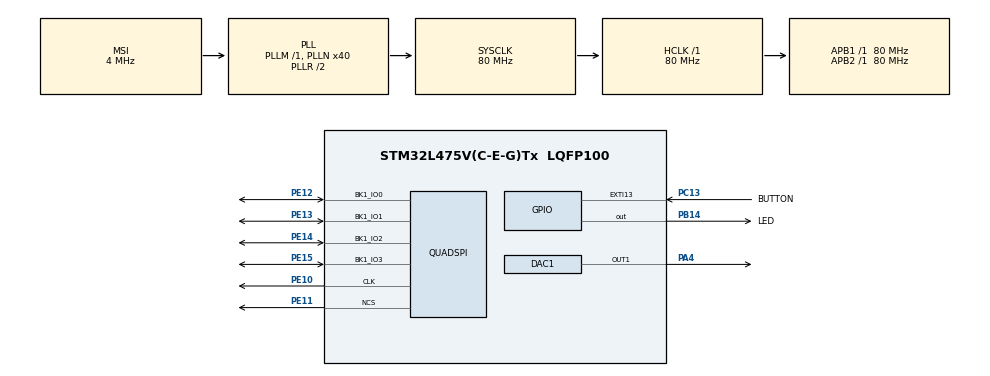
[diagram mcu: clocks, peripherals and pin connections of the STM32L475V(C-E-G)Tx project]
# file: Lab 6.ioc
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Mcu.Family=STM32L4
RCC.MSI_VALUE=4000000
Dma.DAC_CH1.0.Mode=DMA_CIRCULAR
Dma.DAC_CH1.0.MemDataAlignment=DMA_MDATAALIGN_WORD
RCC.CortexFreq_Value=80000000
PC13.Signal=GPXTI13
PB14.GPIO_Label=LED
PE10.Mode=Single Bank
PC13.GPIO_Label=BUTTON
RCC.SYSCLKSource=RCC_SYSCLKSOURCE_PLLCLK
ProjectManager.StackSize=0x400
PB3\ (JTDO-TRACESWO).Signal=SYS_JTDO-SWO
NVIC.DMA1_Channel3_IRQn=true\:0\:0\:false\:false\:true\:false\:true
Dma.DAC_CH1.0.Direction=DMA_MEMORY_TO_PERIPH
PE11.Mode=Single Bank
Dma.DAC_CH1.0.Instance=DMA1_Channel3
ProjectManager.TargetToolchain=STM32CubeIDE
SH.COMP_DAC11_group.0=DAC1_OUT1,DAC_OUT1
RCC.HCLKFreq_Value=80000000
RCC.APB2TimFreq_Value=80000000
Dma.DAC_CH1.0.MemInc=DMA_MINC_ENABLE
RCC.USBFreq_Value=48000000
PE11.Signal=QUADSPI_NCS
RCC.LSE_VALUE=32768
RCC.AHBFreq_Value=80000000
PB14.Signal=GPIO_Output
RCC.HSE_VALUE=8000000
board=B-L475E-IOT01A1
RCC.VCOOutputFreq_Value=160000000
RCC.APB2Freq_Value=80000000
PE14.Signal=QUADSPI_BK1_IO2
PE13.Signal=QUADSPI_BK1_IO1
PE15.Signal=QUADSPI_BK1_IO3
VP_TIM2_VS_ClockSourceINT.Mode=Internal
PE14.Mode=Single Bank
NVIC.TIM2_IRQn=true\:0\:0\:false\:false\:true\:true\:true
RCC.ADCFreq_Value=48000000
Dma.DAC_CH1.0.PeriphDataAlignment=DMA_PDATAALIGN_WORD
PE13.Mode=Single Bank
DAC1.DAC_Trigger-DAC_OUT1=DAC_TRIGGER_T2_TRGO
TIM2.Period=1815
PE10.Signal=QUADSPI_CLK
Mcu.Name=STM32L475V(C-E-G)Tx
PE12.Signal=QUADSPI_BK1_IO0
Dma.DAC_CH1.0.PeriphInc=DMA_PINC_DISABLE
PA4.Signal=COMP_DAC11_group
RCC.SYSCLKFreq_VALUE=80000000
Mcu.Package=LQFP100
ProjectManager.HeapSize=0x200
Dma.DAC_CH1.0.Priority=DMA_PRIORITY_LOW
RCC.HSI_VALUE=16000000
NVIC.PriorityGroup=NVIC_PRIORITYGROUP_4
TIM2.TIM_MasterOutputTrigger=TIM_TRGO_UPDATE
RCC.PLLN=40
RCC.APB1TimFreq_Value=80000000
PA13\ (JTMS-SWDIO).Signal=SYS_JTMS-SWDIO
Dma.Request0=DAC_CH1
RCC.APB1Freq_Value=80000000
PE15.Mode=Single Bank
RCC.PLLSAI1N=24
PE12.Mode=Single Bank

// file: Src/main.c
/* USER CODE BEGIN Header */
/**
  ******************************************************************************
  * @file           : main.c
  * @brief          : Main program body
  ******************************************************************************
  * @attention
  *
  * <h2><center>&copy; Copyright (c) 2020 STMicroelectronics.
  * All rights reserved.</center></h2>
  *
  * This software component is licensed by ST under BSD 3-Clause license,
  * the "License"; You may not use this file except in compliance with the
  * License. You may obtain a copy of the License at:
  *                        opensource.org/licenses/BSD-3-Clause
  *
  ******************************************************************************
  */
/* USER CODE END Header */
#include "main.h"

/* USER CODE BEGIN Includes */
#include "stm32l475e_iot01_qspi.h"

#define ARM_MATH_CM4
#include "arm_math.h"
/* USER CODE END Includes */

DAC_HandleTypeDef hdac1;
DMA_HandleTypeDef hdma_dac_ch1;

QSPI_HandleTypeDef hqspi;

TIM_HandleTypeDef htim2;

/* USER CODE BEGIN PV */
uint8_t original[10] = { 0, 1, 2, 3, 4, 5, 6, 7, 8, 9 };
uint8_t copy[10];
/* USER CODE END PV */

void SystemClock_Config(void);
static void MX_GPIO_Init(void);
static void MX_DMA_Init(void);
static void MX_DAC1_Init(void);
static void MX_TIM2_Init(void);
static void MX_QUADSPI_Init(void);

int main(void)
{

  /* MCU Configuration--------------------------------------------------------*/

  /* Reset of all peripherals, Initializes the Flash interface and the Systick. */
  HAL_Init();

  /* Configure the system clock */
  SystemClock_Config();

  /* Initialize all configured peripherals */
  MX_GPIO_Init();
  MX_DMA_Init();
  MX_DAC1_Init();
  MX_TIM2_Init();
  MX_QUADSPI_Init();
  /* USER CODE BEGIN 2 */
  BSP_QSPI_Init();

  HAL_GPIO_WritePin(LED_GPIO_Port, LED_Pin, GPIO_PIN_SET);

  // test
  if (BSP_QSPI_Erase_Block((uint32_t) 0x08080000) != QSPI_OK)
	  Error_Handler();
  if (BSP_QSPI_Write(original, (uint32_t) 0x08080000, sizeof(original)) != QSPI_OK)
	  Error_Handler();
  if (BSP_QSPI_Read(copy, (uint32_t) 0x08080000, sizeof(original)) != QSPI_OK)
	  Error_Handler();

  /* USER CODE END 2 */

  /* Infinite loop */
  while (1)
  {

  }
}

void SystemClock_Config(void)
{
  RCC_OscInitTypeDef RCC_OscInitStruct = {0};
  RCC_ClkInitTypeDef RCC_ClkInitStruct = {0};

  /** Initializes the RCC Oscillators according to the specified parameters
  * in the RCC_OscInitTypeDef structure.
  */
  RCC_OscInitStruct.OscillatorType = RCC_OSCILLATORTYPE_MSI;
  RCC_OscInitStruct.MSIState = RCC_MSI_ON;
  RCC_OscInitStruct.MSICalibrationValue = 0;
  RCC_OscInitStruct.MSIClockRange = RCC_MSIRANGE_6;
  RCC_OscInitStruct.PLL.PLLState = RCC_PLL_ON;
  RCC_OscInitStruct.PLL.PLLSource = RCC_PLLSOURCE_MSI;
  RCC_OscInitStruct.PLL.PLLM = 1;
  RCC_OscInitStruct.PLL.PLLN = 40;
  RCC_OscInitStruct.PLL.PLLP = RCC_PLLP_DIV7;
  RCC_OscInitStruct.PLL.PLLQ = RCC_PLLQ_DIV2;
  RCC_OscInitStruct.PLL.PLLR = RCC_PLLR_DIV2;
  if (HAL_RCC_OscConfig(&RCC_OscInitStruct) != HAL_OK)
  {
    Error_Handler();
  }
  /** Initializes the CPU, AHB and APB buses clocks
  */
  RCC_ClkInitStruct.ClockType = RCC_CLOCKTYPE_HCLK|RCC_CLOCKTYPE_SYSCLK
                              |RCC_CLOCKTYPE_PCLK1|RCC_CLOCKTYPE_PCLK2;
  RCC_ClkInitStruct.SYSCLKSource = RCC_SYSCLKSOURCE_PLLCLK;
  RCC_ClkInitStruct.AHBCLKDivider = RCC_SYSCLK_DIV1;
  RCC_ClkInitStruct.APB1CLKDivider = RCC_HCLK_DIV1;
  RCC_ClkInitStruct.APB2CLKDivider = RCC_HCLK_DIV1;

  if (HAL_RCC_ClockConfig(&RCC_ClkInitStruct, FLASH_LATENCY_4) != HAL_OK)
  {
    Error_Handler();
  }
  /** Configure the main internal regulator output voltage
  */
  if (HAL_PWREx_ControlVoltageScaling(PWR_REGULATOR_VOLTAGE_SCALE1) != HAL_OK)
  {
    Error_Handler();
  }
}

static void MX_DAC1_Init(void)
{

  DAC_ChannelConfTypeDef sConfig = {0};

  /** DAC Initialization
  */
  hdac1.Instance = DAC1;
  if (HAL_DAC_Init(&hdac1) != HAL_OK)
  {
    Error_Handler();
  }
  /** DAC channel OUT1 config
  */
  sConfig.DAC_SampleAndHold = DAC_SAMPLEANDHOLD_DISABLE;
  sConfig.DAC_Trigger = DAC_TRIGGER_T2_TRGO;
  sConfig.DAC_OutputBuffer = DAC_OUTPUTBUFFER_ENABLE;
  sConfig.DAC_ConnectOnChipPeripheral = DAC_CHIPCONNECT_DISABLE;
  sConfig.DAC_UserTrimming = DAC_TRIMMING_FACTORY;
  if (HAL_DAC_ConfigChannel(&hdac1, &sConfig, DAC_CHANNEL_1) != HAL_OK)
  {
    Error_Handler();
  }

}

static void MX_QUADSPI_Init(void)
{

  /* QUADSPI parameter configuration*/
  hqspi.Instance = QUADSPI;
  hqspi.Init.ClockPrescaler = 255;
  hqspi.Init.FifoThreshold = 1;
  hqspi.Init.SampleShifting = QSPI_SAMPLE_SHIFTING_NONE;
  hqspi.Init.FlashSize = 1;
  hqspi.Init.ChipSelectHighTime = QSPI_CS_HIGH_TIME_1_CYCLE;
  hqspi.Init.ClockMode = QSPI_CLOCK_MODE_0;
  if (HAL_QSPI_Init(&hqspi) != HAL_OK)
  {
    Error_Handler();
  }

}

static void MX_TIM2_Init(void)
{

  TIM_ClockConfigTypeDef sClockSourceConfig = {0};
  TIM_MasterConfigTypeDef sMasterConfig = {0};

  htim2.Instance = TIM2;
  htim2.Init.Prescaler = 0;
  htim2.Init.CounterMode = TIM_COUNTERMODE_UP;
  htim2.Init.Period = 1815;
  htim2.Init.ClockDivision = TIM_CLOCKDIVISION_DIV1;
  htim2.Init.AutoReloadPreload = TIM_AUTORELOAD_PRELOAD_DISABLE;
  if (HAL_TIM_Base_Init(&htim2) != HAL_OK)
  {
    Error_Handler();
  }
  sClockSourceConfig.ClockSource = TIM_CLOCKSOURCE_INTERNAL;
  if (HAL_TIM_ConfigClockSource(&htim2, &sClockSourceConfig) != HAL_OK)
  {
    Error_Handler();
  }
  sMasterConfig.MasterOutputTrigger = TIM_TRGO_UPDATE;
  sMasterConfig.MasterSlaveMode = TIM_MASTERSLAVEMODE_DISABLE;
  if (HAL_TIMEx_MasterConfigSynchronization(&htim2, &sMasterConfig) != HAL_OK)
  {
    Error_Handler();
  }

}

static void MX_DMA_Init(void)
{

  /* DMA controller clock enable */
  __HAL_RCC_DMA1_CLK_ENABLE();

  /* DMA interrupt init */
  /* DMA1_Channel3_IRQn interrupt configuration */
  HAL_NVIC_SetPriority(DMA1_Channel3_IRQn, 0, 0);
  HAL_NVIC_EnableIRQ(DMA1_Channel3_IRQn);

}

static void MX_GPIO_Init(void)
{
  GPIO_InitTypeDef GPIO_InitStruct = {0};

  /* GPIO Ports Clock Enable */
  __HAL_RCC_GPIOC_CLK_ENABLE();
  __HAL_RCC_GPIOA_CLK_ENABLE();
  __HAL_RCC_GPIOE_CLK_ENABLE();
  __HAL_RCC_GPIOB_CLK_ENABLE();

  /*Configure GPIO pin Output Level */
  HAL_GPIO_WritePin(LED_GPIO_Port, LED_Pin, GPIO_PIN_RESET);

  /*Configure GPIO pin : BUTTON_Pin */
  GPIO_InitStruct.Pin = BUTTON_Pin;
  GPIO_InitStruct.Mode = GPIO_MODE_IT_RISING;
  GPIO_InitStruct.Pull = GPIO_NOPULL;
  HAL_GPIO_Init(BUTTON_GPIO_Port, &GPIO_InitStruct);

  /*Configure GPIO pin : LED_Pin */
  GPIO_InitStruct.Pin = LED_Pin;
  GPIO_InitStruct.Mode = GPIO_MODE_OUTPUT_PP;
  GPIO_InitStruct.Pull = GPIO_NOPULL;
  GPIO_InitStruct.Speed = GPIO_SPEED_FREQ_LOW;
  HAL_GPIO_Init(LED_GPIO_Port, &GPIO_InitStruct);

}

void Error_Handler(void)
{
  /* USER CODE BEGIN Error_Handler_Debug */
  /* User can add his own implementation to report the HAL error return state */

	HAL_GPIO_WritePin(LED_GPIO_Port, LED_Pin, GPIO_PIN_RESET);
	__BKPT();
  /* USER CODE END Error_Handler_Debug */
}

/************************ (C) COPYRIGHT STMicroelectronics *****END OF FILE****/
